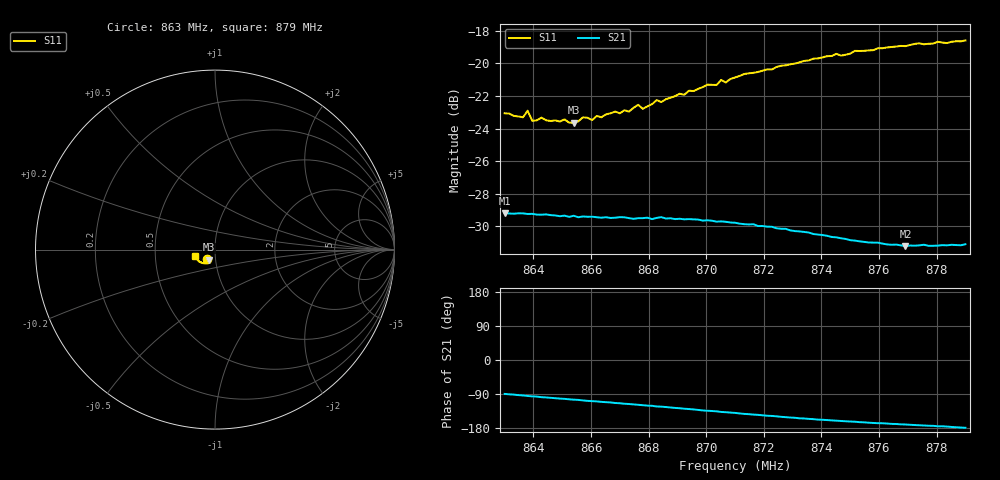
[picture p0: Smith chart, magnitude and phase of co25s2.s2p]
# HZ S RI R 50
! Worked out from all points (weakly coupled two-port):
!   101 points, 863 MHz to 879 MHz, reference 50 ohm
!   highest |S21| = -29.19 dB at 863 MHz (marker M1); lowest = -31.2 dB at 876.92 MHz (marker M2)
!   lowest |S11| = -23.7 dB at 865.4 MHz (marker M3), VSWR 1.14, Z = 46.4 - j5.24 ohm
!   |S11| at or under -10 dB: start of sweep to end of sweep
!   S12 and S22 are empty: the file has one direction only
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8.63e8  -0.0444 -0.0544  0.000327 -0.0347  0 0  0 0
8.6364e8  -0.0408 -0.0548  -0.00218 -0.0346  0 0  0 0
8.638e8  -0.0459 -0.0549  -0.00296 -0.0344  0 0  0 0
8.6396e8  -0.0388 -0.0542  -0.00359 -0.0344  0 0  0 0
8.6428e8  -0.0387 -0.0561  -0.00484 -0.034  0 0  0 0
8.654e8  -0.0341 -0.0562  -0.00865 -0.033  0 0  0 0
8.6572e8  -0.0352 -0.0585  -0.00976 -0.0325  0 0  0 0
8.6604e8  -0.0337 -0.0578  -0.0108 -0.0321  0 0  0 0
8.662e8  -0.0347 -0.0596  -0.0111 -0.0319  0 0  0 0
8.6636e8  -0.0342 -0.0591  -0.0118 -0.0315  0 0  0 0
8.6684e8  -0.0338 -0.0626  -0.0134 -0.0309  0 0  0 0
8.6732e8  -0.0345 -0.0621  -0.0148 -0.0301  0 0  0 0
8.6764e8  -0.0359 -0.0654  -0.0158 -0.0296  0 0  0 0
8.678e8  -0.0344 -0.0638  -0.0164 -0.0292  0 0  0 0
8.6828e8  -0.0358 -0.0683  -0.0181 -0.0283  0 0  0 0
8.6844e8  -0.0354 -0.0672  -0.0185 -0.0283  0 0  0 0
8.6908e8  -0.0393 -0.0704  -0.0202 -0.0266  0 0  0 0
8.71e8  -0.0499 -0.0754  -0.0247 -0.021  0 0  0 0
8.7372e8  -0.0709 -0.075  -0.0274 -0.0122  0 0  0 0
8.7644e8  -0.0944 -0.0605  -0.0272 -0.00549  0 0  0 0
8.7692e8  -0.0978 -0.0562  -0.0271 -0.0047  0 0  0 0
8.79e8  -0.1114 -0.0369  -0.0279 -0.000575  0 0  0 0
